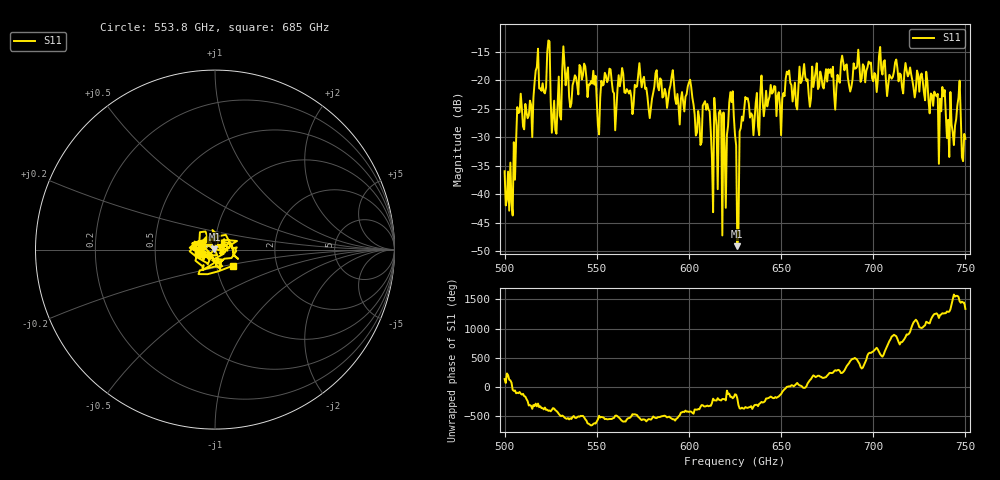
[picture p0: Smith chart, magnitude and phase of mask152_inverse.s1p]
!Created with skrf (http://scikit-rf.org).
# GHz S MA R 50.0
!freq magS11 angS11
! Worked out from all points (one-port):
!   401 points, 500 GHz to 750 GHz, reference 50 ohm
!   lowest |S11| = -49.1 dB at 626.2 GHz (marker M1), VSWR 1.01, Z = 49.7 + j0.124 ohm
!   |S11| at or under -10 dB: start of sweep to end of sweep
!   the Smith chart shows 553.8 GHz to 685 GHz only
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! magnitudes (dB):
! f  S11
! 500 GHz  -35.9
! 503.1 GHz  -34.4
! 508.1 GHz  -25.6
! 513.8 GHz  -23.6
! 516.9 GHz  -18.3
! 523.8 GHz  -13.0
! 526.9 GHz  -23.6
! 531.2 GHz  -18.3
! 542.5 GHz  -19.1
! 551.2 GHz  -29.5
! 562.5 GHz  -21.1
! 593.8 GHz  -22.4
! 600.6 GHz  -19.9
! 605.6 GHz  -26.7
! 609.4 GHz  -25.2
! 611.9 GHz  -29.0
! 616.2 GHz  -25.7
! 619.4 GHz  -31.7
! 623.1 GHz  -23.8
! 625 GHz  -29.6
! 626.2 GHz  -49.1
! 631.2 GHz  -23.3
! 656.2 GHz  -23.7
! 687.5 GHz  -22.0
! 718.8 GHz  -19.3
! 742.5 GHz  -27.7
! 746.2 GHz  -23.0
! 750 GHz  -30.3
